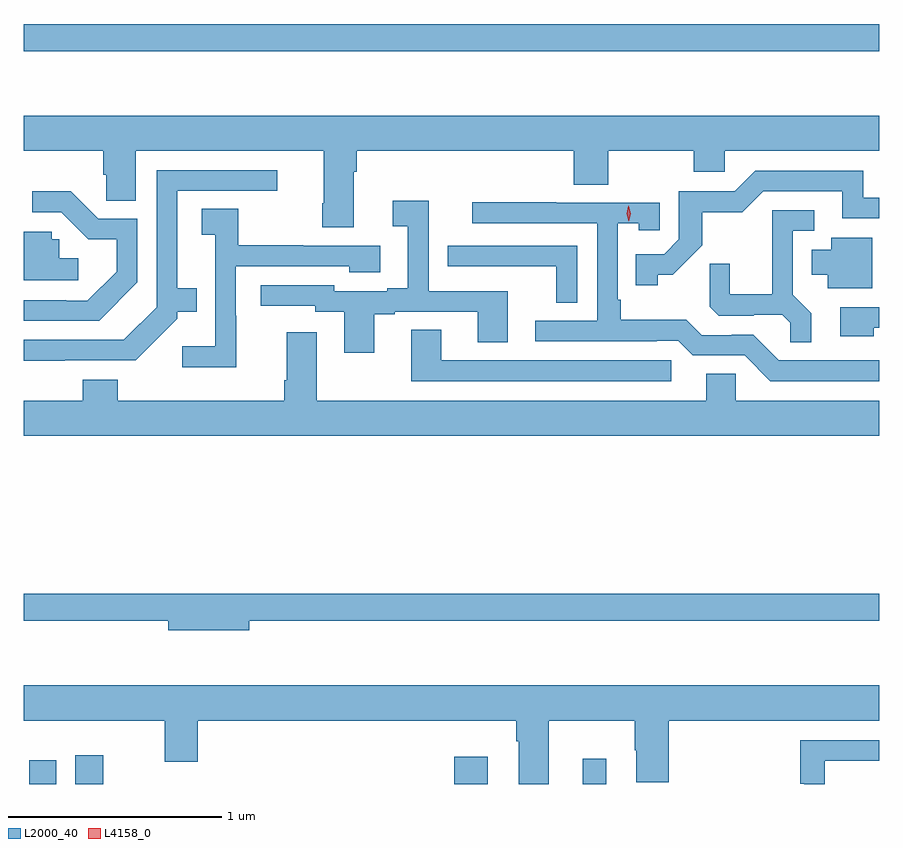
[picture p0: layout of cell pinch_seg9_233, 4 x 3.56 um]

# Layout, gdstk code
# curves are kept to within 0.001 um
import gdstk
lib = gdstk.Library(unit=1e-6, precision=1e-09)
def R(c, l, rs):  # rectangles x0, y0, x1, y1
    for r in rs: c.add(gdstk.rectangle(r[:2], r[2:], *l))
def P(c, l, *ps):  # polygons
    for p in ps: c.add(gdstk.Polygon(p, *l))
L2000_40 = (2000, 40)
L4158_0 = (4158, 0)

pinch_seg9_233 = lib.new_cell('pinch_seg9_233')
R(pinch_seg9_233, L2000_40, [(432.872,1240.079,432.997,1240.189), (433.085,1240.079,433.216,1240.213), (434.858,1240.079,435.016,1240.207), (435.461,1240.079,435.571,1240.198), (432.846,1243.506,436.846,1243.634)])
P(pinch_seg9_233, L2000_40, [(434.389,1242.944),(434.402,1242.944),(434.402,1243.04),(435.419,1243.04),(435.419,1242.883),(435.579,1242.883),(435.579,1243.04),(435.979,1243.04),(435.979,1242.942),(436.125,1242.942),(436.125,1243.04),(436.846,1243.04),(436.846,1243.204),(432.846,1243.204),(432.846,1243.04),(433.217,1243.04),(433.217,1242.93),(433.231,1242.93),(433.231,1242.808),(433.369,1242.808),(433.369,1243.04),(434.249,1243.04),(434.249,1242.796),(434.242,1242.796),(434.242,1242.684),(434.389,1242.684)],
  [(433.037,1242.06),(433.368,1242.06),(433.563,1242.255),(433.563,1242.287),(433.655,1242.287),(433.655,1242.397),(433.564,1242.397),(433.564,1242.855),(434.032,1242.855),(434.032,1242.951),(433.467,1242.951),(433.467,1242.309),(433.314,1242.156),(432.846,1242.156),(432.846,1242.059)],
  [(435.81,1242.461),(435.88,1242.461),(436.018,1242.598),(436.018,1242.754),(436.207,1242.754),(436.305,1242.852),(436.673,1242.852),(436.673,1242.726),(436.846,1242.726),(436.846,1242.822),(436.772,1242.822),(436.772,1242.948),(436.266,1242.948),(436.17,1242.852),(435.909,1242.852),(435.909,1242.627),(435.84,1242.558),(435.709,1242.558),(435.709,1242.411),(435.81,1242.411)],
  [(433.377,1242.425),(433.377,1242.723),(433.194,1242.723),(433.066,1242.851),(432.885,1242.851),(432.885,1242.753),(433.02,1242.753),(433.147,1242.626),(433.28,1242.626),(433.28,1242.476),(433.143,1242.339),(433.043,1242.339),(433.043,1242.342),(432.846,1242.342),(432.846,1242.246),(433.198,1242.246)],
  [(434.485,1242.276),(434.581,1242.276),(434.581,1242.288),(434.969,1242.288),(434.969,1242.145),(435.109,1242.145),(435.109,1242.384),(434.739,1242.384),(434.739,1242.808),(434.571,1242.808),(434.571,1242.688),(434.642,1242.688),(434.642,1242.397),(434.546,1242.397),(434.546,1242.384),(434.298,1242.384),(434.298,1242.411),(433.953,1242.411),(433.953,1242.315),(434.208,1242.315),(434.208,1242.288),(434.345,1242.288),(434.345,1242.096),(434.485,1242.096)],
  [(436.846,1242.06),(436.377,1242.06),(436.257,1242.18),(436.156,1242.18),(436.156,1242.177),(436.017,1242.177),(435.944,1242.25),(435.637,1242.25),(435.637,1242.343),(435.624,1242.343),(435.624,1242.701),(435.723,1242.701),(435.723,1242.669),(435.819,1242.669),(435.819,1242.798),(435.335,1242.798),(435.335,1242.801),(434.943,1242.801),(434.943,1242.702),(435.528,1242.702),(435.528,1242.246),(435.237,1242.246),(435.237,1242.15),(435.806,1242.15),(435.806,1242.153),(435.906,1242.153),(435.975,1242.084),(436.218,1242.084),(436.338,1241.964),(436.846,1241.964)],
  [(433.839,1242.269),(433.836,1242.269),(433.836,1242.501),(434.367,1242.501),(434.367,1242.473),(434.512,1242.473),(434.512,1242.597),(434.153,1242.597),(434.153,1242.6),(433.849,1242.6),(433.849,1242.77),(433.677,1242.77),(433.677,1242.649),(433.74,1242.649),(433.74,1242.127),(433.587,1242.127),(433.587,1242.029),(433.839,1242.029)],
  [(436.529,1242.281),(436.443,1242.367),(436.443,1242.666),(436.543,1242.666),(436.543,1242.762),(436.346,1242.762),(436.346,1242.37),(436.148,1242.37),(436.148,1242.513),(436.054,1242.513),(436.054,1242.311),(436.095,1242.27),(436.26,1242.27),(436.26,1242.273),(436.394,1242.273),(436.431,1242.236),(436.431,1242.145),(436.529,1242.145)],
  [(433.099,1242.538),(433.011,1242.538),(433.011,1242.627),(432.975,1242.627),(432.975,1242.663),(432.846,1242.663),(432.846,1242.435),(433.099,1242.435)],
  [(436.813,1242.634),(436.622,1242.634),(436.622,1242.577),(436.532,1242.577),(436.532,1242.461),(436.607,1242.461),(436.607,1242.398),(436.813,1242.398)],
  [(435.435,1242.597),(434.829,1242.597),(434.829,1242.502),(434.941,1242.502),(434.941,1242.501),(435.337,1242.501),(435.337,1242.331),(435.435,1242.331)],
  [(436.821,1242.213),(436.846,1242.213),(436.846,1242.309),(436.665,1242.309),(436.665,1242.173),(436.821,1242.173)],
  [(435.874,1242.06),(434.797,1242.06),(434.797,1242.203),(434.657,1242.203),(434.657,1241.964),(435.874,1241.964)],
  [(436.846,1241.872),(436.176,1241.872),(436.176,1241.999),(436.037,1241.999),(436.037,1241.872),(434.215,1241.872),(434.215,1242.193),(434.075,1242.193),(434.075,1241.968),(434.063,1241.968),(434.063,1241.872),(433.286,1241.872),(433.286,1241.971),(433.121,1241.971),(433.121,1241.872),(432.846,1241.872),(432.846,1241.708),(436.846,1241.708)],
  [(433.9,1240.842),(436.846,1240.842),(436.846,1240.97),(432.846,1240.97),(432.846,1240.842),(433.52,1240.842),(433.52,1240.799),(433.9,1240.799)],
  [(435.301,1240.376),(435.703,1240.376),(435.703,1240.238),(435.71,1240.238),(435.71,1240.087),(435.863,1240.087),(435.863,1240.376),(436.846,1240.376),(436.846,1240.54),(432.846,1240.54),(432.846,1240.376),(433.505,1240.376),(433.505,1240.182),(433.658,1240.182),(433.658,1240.376),(435.149,1240.376),(435.149,1240.28),(435.161,1240.28),(435.161,1240.079),(435.301,1240.079)],
  [(436.593,1240.188),(436.846,1240.188),(436.846,1240.284),(436.477,1240.284),(436.477,1240.081),(436.495,1240.081),(436.495,1240.079),(436.593,1240.079)])
P(pinch_seg9_233, L4158_0, [(435.676,1242.711),(435.676,1242.711),(435.665,1242.746),(435.673,1242.782),(435.674,1242.783),(435.674,1242.782),(435.685,1242.747),(435.676,1242.711)])

lib.write_gds('pinch_seg9_233.gds')
